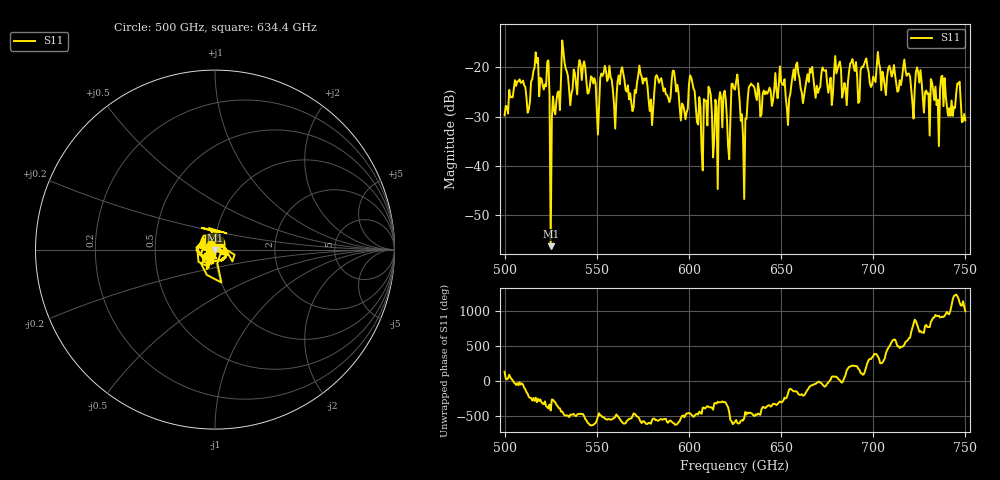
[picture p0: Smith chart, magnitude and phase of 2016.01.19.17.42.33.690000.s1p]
!Created with skrf (http://scikit-rf.org).
# GHz S RI R 50.0
!freq ReS11 ImS11
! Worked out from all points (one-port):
!   401 points, 500 GHz to 750 GHz, reference 50 ohm
!   lowest |S11| = -56.3 dB at 525 GHz (marker M1), VSWR 1.00, Z = 50.1 - j0.139 ohm
!   |S11| at or under -10 dB: start of sweep to end of sweep
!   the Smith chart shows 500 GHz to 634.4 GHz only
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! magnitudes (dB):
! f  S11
! 500 GHz  -29.8
! 513.1 GHz  -28.6
! 516.9 GHz  -17.0
! 523.1 GHz  -19.0
! 525 GHz  -56.3
! 526.2 GHz  -25.9
! 531.2 GHz  -14.6
! 550 GHz  -28.2
! 562.5 GHz  -23.5
! 579.4 GHz  -26.6
! 583.1 GHz  -22.2
! 593.8 GHz  -23.6
! 598.1 GHz  -30.6
! 601.9 GHz  -23.2
! 606.2 GHz  -28.1
! 610.6 GHz  -24.0
! 614.4 GHz  -26.6
! 618.1 GHz  -32.2
! 621.9 GHz  -38.7
! 625 GHz  -24.5
! 629.4 GHz  -34.2
! 633.8 GHz  -23.3
! 656.2 GHz  -21.8
! 687.5 GHz  -19.3
! 718.8 GHz  -21.3
! 734.4 GHz  -27.7
! 746.2 GHz  -23.3
! 750 GHz  -30.8
